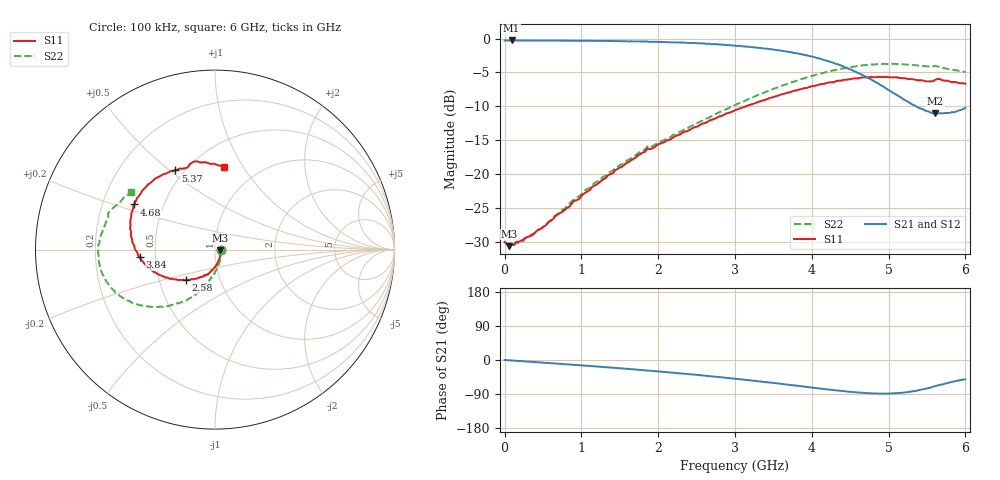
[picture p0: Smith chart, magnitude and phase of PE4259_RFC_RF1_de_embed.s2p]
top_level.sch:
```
<Qucs Schematic 0.0.19>
<Properties>
  <View=0,0,910,800,1,189,0>
  <Grid=10,10,1>
  <DataSet=top_level.dat>
  <DataDisplay=top_level.dpl>
  <OpenDisplay=1>
  <Script=top_level.m>
  <RunScript=0>
  <showFrame=0>
  <FrameText0=Title>
  <FrameText1=Drawn By:>
  <FrameText2=Date:>
  <FrameText3=Revision:>
</Properties>
<Symbol>
</Symbol>
<Components>
  <R R1 1 480 230 -30 -14 0 1 "96.2475 Ohm" 1 "26.85" 0 "0.0" 0 "0.0" 0 "26.85" 0 "US" 0>
  <R R2 1 510 200 -19 -42 0 0 "71.1512 Ohm" 1 "26.85" 0 "0.0" 0 "0.0" 0 "26.85" 0 "US" 0>
  <R R3 1 540 230 11 -14 0 1 "96.2475 Ohm" 1 "26.85" 0 "0.0" 0 "0.0" 0 "26.85" 0 "US" 0>
  <GND * 1 480 260 0 0 0 0>
  <GND * 1 540 260 0 0 0 0>
  <SPfile RFC_RF2 1 680 200 -26 -45 1 2 "PE4259_RFC_RF1_de_embed.s2p" 1 "rectangular" 0 "linear" 0 "open" 0 "2" 0>
  <SPfile RFC_RF1 1 350 200 -26 -45 0 0 "PE4259_RFC_RF1_de_embed.s2p" 1 "rectangular" 0 "linear" 0 "open" 0 "2" 0>
  <GND * 1 350 260 0 0 0 0>
  <GND * 1 680 260 0 0 0 0>
  <.SP SP1 1 250 440 0 51 0 0 "lin" 1 "50 MHz" 1 "3 GHz" 1 "190" 1 "yes" 0 "1" 0 "2" 0 "no" 0 "no" 0>
  <Pac P1 1 200 230 18 -26 0 1 "1" 1 "50 Ohm" 1 "0 dBm" 0 "1 GHz" 0 "26.85" 0>
  <GND * 1 200 300 0 0 0 0>
  <Eqn Eqn1 1 520 420 -23 13 0 0 "S21=dB(S[2,1])" 1 "S11=dB(S[1,1])" 1 "yes" 0>
  <Pac P2 1 820 230 18 -26 0 1 "2" 1 "50 Ohm" 1 "0 dBm" 0 "1 GHz" 0 "26.85" 0>
  <GND * 1 820 300 0 0 0 0>
</Components>
<Wires>
  <380 200 480 200 "" 0 0 0 "">
  <540 200 650 200 "" 0 0 0 "">
  <350 230 350 260 "" 0 0 0 "">
  <680 230 680 260 "" 0 0 0 "">
  <200 200 320 200 "" 0 0 0 "">
  <200 260 200 300 "" 0 0 0 "">
  <710 200 820 200 "" 0 0 0 "">
  <820 260 820 300 "" 0 0 0 "">
</Wires>
<Diagrams>
</Diagrams>
<Paintings>
  <Text 425 130 12 #000000 0 "10 dB Pi-Type Attenuator">
  <Text 590 192 10 #000000 0 "Z2: 50 Ohm">
  <Text 350 192 10 #000000 0 "Z1: 50 Ohm">
</Paintings>
```
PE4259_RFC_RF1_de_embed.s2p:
! Created Fri Oct 06 15:03:57 2006
# hz S ma R 50
! 2 Port Network Data from SP1.SP block
! freq  magS11  angS11  magS21  angS21  magS12  angS12  magS22  angS22
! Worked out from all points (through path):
!   201 points, 100 kHz to 6 GHz, reference 50 ohm
!   highest |S21| = -0.28 dB at 90.1 MHz (marker M1); lowest = -11.0 dB at 5.61 GHz (marker M2)
!   group delay of S21, straight-line fit = 41.5 ps
!   lowest |S11| = -30.6 dB at 60.1 MHz (marker M3), VSWR 1.06, Z = 53 - j0.322 ohm
!   |S11| at or under -10 dB: start of sweep to 3.139 GHz
!   |S22| runs from -30.6 to -3.7 dB; largest |S21 - S12| = 0.0089
!   S11 on the Smith chart (normalised r, x): 100 kHz: 1.07, -0.00; 2.58 GHz: 0.68, -0.25; 3.84 GHz: 0.41, -0.04; 4.68 GHz: 0.34, +0.23; 5.37 GHz: 0.45, +0.52; 6 GHz: 0.70, +0.83
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100000  0.03161 -1.5  0.9685 0.0  0.9683 0.0  0.03159 -1.5
6.0099e7  0.0295 -5.9  0.968 -0.8  0.9683 -0.8  0.0294 -5.4
9.00985e7  0.03004 -7.7  0.9685 -1.3  0.9679 -1.3  0.02996 -7.0
1.410076e9  0.1014 -92.2  0.9602 -20.3  0.9608 -20.3  0.106 -83.0
2.580057e9  0.2358 -133.7  0.9217 -40.8  0.9197 -40.7  0.249 -110.6
3.00005e9  0.2963 -146.4  0.8865 -49.5  0.8864 -49.5  0.3234 -119.1
3.840036e9  0.4209 -174.2  0.7708 -68.7  0.7668 -68.5  0.497 -140.6
4.680022e9  0.5171 150.9  0.532 -86.8  0.5335 -86.2  0.6343 -165.5
5.37001e9  0.4939 116.7  0.3131 -81.1  0.3177 -80.6  0.6349 169.8
5.610006e9  0.4974 106.3  0.2803 -68.5  0.2836 -68.9  0.6295 161.4
6e9  0.4645 83.6  0.3076 -50.8  0.306 -50.9  0.5656 145.4
